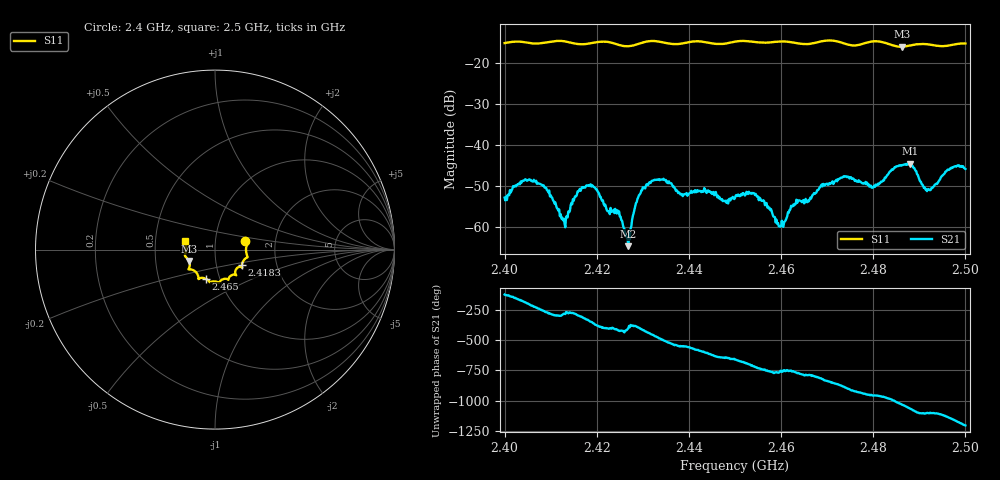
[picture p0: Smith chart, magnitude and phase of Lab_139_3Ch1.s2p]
# Hz S RI R 50
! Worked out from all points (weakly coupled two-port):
!   601 points, 2.4 GHz to 2.5 GHz, reference 50 ohm
!   highest |S21| = -44.48 dB at 2.488 GHz (marker M1); lowest = -64.6 dB at 2.4268 GHz (marker M2)
!   lowest |S11| = -16.0 dB at 2.4862 GHz (marker M3), VSWR 1.37, Z = 37.1 - j4.85 ohm
!   |S11| at or under -10 dB: start of sweep to end of sweep
!   S12 and S22 are empty: the file has one direction only
!   S11 on the Smith chart (normalised r, x): 2.4 GHz: 1.40, +0.13; 2.4183 GHz: 1.33, -0.24; 2.465 GHz: 0.86, -0.29; 2.5 GHz: 0.71, +0.07
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2.4e9  0.1691 0.0458  -0.00131 -0.00189  0 0  0 0
2.406333e9  0.1731 0.00493  -0.00262 0.00273  0 0  0 0
2.412833e9  0.1794 -0.0438  0.000284 0.00123  0 0  0 0
2.416667e9  0.1549 -0.0684  0.00176 0.00236  0 0  0 0
2.418333e9  0.1499 -0.0869  0.00301 0.00102  0 0  0 0
2.4245e9  0.1382 -0.096  0.000914 -0.00132  0 0  0 0
2.426833e9  0.1192 -0.1071  0.000422 -0.000409  0 0  0 0
2.4295e9  0.113 -0.1333  0.00172 -0.00194  0 0  0 0
2.433333e9  0.1167 -0.1412  -0.00194 -0.00325  0 0  0 0
2.4385e9  0.0797 -0.1536  -0.00247 0.000481  0 0  0 0
2.45e9  0.0252 -0.1806  0.0012 0.00193  0 0  0 0
2.454333e9  0.012 -0.1802  0.00246 -0.000112  0 0  0 0
2.46e9  -0.0278 -0.1813  0.000862 -0.000568  0 0  0 0
2.465e9  -0.0528 -0.1621  0.000627 -0.00185  0 0  0 0
2.466667e9  -0.0714 -0.1574  0.000518 -0.00229  0 0  0 0
2.4735e9  -0.0936 -0.1476  -0.00398 -0.00111  0 0  0 0
2.479833e9  -0.1467 -0.1101  -0.00165 0.00255  0 0  0 0
2.483333e9  -0.1417 -0.0956  -0.000446 0.00449  0 0  0 0
2.486167e9  -0.1444 -0.0637  0.00391 0.00416  0 0  0 0
2.488e9  -0.1572 -0.0469  0.00582 0.00133  0 0  0 0
2.491833e9  -0.1669 -0.0284  0.00267 -0.00112  0 0  0 0
2.5e9  -0.1666 0.0473  -0.00302 -0.00414  0 0  0 0
